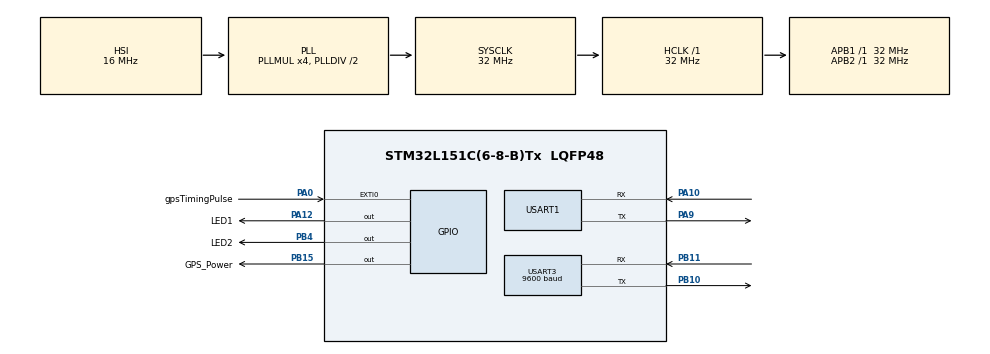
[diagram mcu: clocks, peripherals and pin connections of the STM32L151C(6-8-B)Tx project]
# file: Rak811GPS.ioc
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Mcu.Family=STM32L1
Mcu.Name=STM32L151C(6-8-B)Tx
Mcu.Package=LQFP48
NVIC.EXTI0_IRQn=true\:0\:0\:false\:false\:true\:true
NVIC.PriorityGroup=NVIC_PRIORITYGROUP_4
PA0-WKUP1.GPIO_Label=gpsTimingPulse
PA0-WKUP1.Signal=GPXTI0
PA10.Mode=Asynchronous
PA10.Signal=USART1_RX
PA12.GPIO_Label=LED1
PA12.PinState=GPIO_PIN_SET
PA12.Signal=GPIO_Output
PA13.Mode=Serial_Wire
PA13.Signal=SYS_JTMS-SWDIO
PA14.Mode=Serial_Wire
PA14.Signal=SYS_JTCK-SWCLK
PA9.Mode=Asynchronous
PA9.Signal=USART1_TX
PB10.Mode=Asynchronous
PB10.Signal=USART3_TX
PB11.Mode=Asynchronous
PB11.Signal=USART3_RX
PB15.GPIO_Label=GPS_Power
PB15.Signal=GPIO_Output
PB4.GPIO_Label=LED2
PB4.PinState=GPIO_PIN_SET
PB4.Signal=GPIO_Output
PC14-OSC32_IN.Mode=LSE-External-Oscillator
PC14-OSC32_IN.Signal=RCC_OSC32_IN
PC15-OSC32_OUT.Mode=LSE-External-Oscillator
PC15-OSC32_OUT.Signal=RCC_OSC32_OUT
ProjectManager.HeapSize=0x200
ProjectManager.StackSize=0x400
ProjectManager.TargetToolchain=SW4STM32
RCC.48MHZClocksFreq_Value=32000000
RCC.AHBFreq_Value=32000000
RCC.APB1Freq_Value=32000000
RCC.APB1TimFreq_Value=32000000
RCC.APB2Freq_Value=32000000
RCC.APB2TimFreq_Value=32000000
RCC.HCLKFreq_Value=32000000
RCC.HSE_VALUE=24000000
RCC.HSI_VALUE=16000000
RCC.MSI_VALUE=2097000
RCC.PLLMUL=RCC_PLL_MUL4
RCC.SYSCLKFreq_VALUE=32000000
RCC.SYSCLKSource=RCC_SYSCLKSOURCE_PLLCLK
RCC.VCOOutputFreq_Value=64000000
USART1.VirtualMode=VM_ASYNC
USART3.BaudRate=9600
USART3.VirtualMode=VM_ASYNC
board=custom

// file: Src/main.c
/**
  ******************************************************************************
  * @file           : main.c
  * @brief          : Main program body
  ******************************************************************************
  ** This notice applies to any and all portions of this file
  * that are not between comment pairs USER CODE BEGIN and
  * USER CODE END. Other portions of this file, whether
  * inserted by the user or by software development tools
  * are owned by their respective copyright owners.
  *
  * COPYRIGHT(c) 2018 STMicroelectronics
  *
  * Redistribution and use in source and binary forms, with or without modification,
  * are permitted provided that the following conditions are met:
  *   1. Redistributions of source code must retain the above copyright notice,
  *      this list of conditions and the following disclaimer.
  *   2. Redistributions in binary form must reproduce the above copyright notice,
  *      this list of conditions and the following disclaimer in the documentation
  *      and/or other materials provided with the distribution.
  *   3. Neither the name of STMicroelectronics nor the names of its contributors
  *      may be used to endorse or promote products derived from this software
  *      without specific prior written permission.
  *
  * THIS SOFTWARE IS PROVIDED BY THE COPYRIGHT HOLDERS AND CONTRIBUTORS "AS IS"
  * AND ANY EXPRESS OR IMPLIED WARRANTIES, INCLUDING, BUT NOT LIMITED TO, THE
  * IMPLIED WARRANTIES OF MERCHANTABILITY AND FITNESS FOR A PARTICULAR PURPOSE ARE
  * DISCLAIMED. IN NO EVENT SHALL THE COPYRIGHT HOLDER OR CONTRIBUTORS BE LIABLE
  * FOR ANY DIRECT, INDIRECT, INCIDENTAL, SPECIAL, EXEMPLARY, OR CONSEQUENTIAL
  * DAMAGES (INCLUDING, BUT NOT LIMITED TO, PROCUREMENT OF SUBSTITUTE GOODS OR
  * SERVICES; LOSS OF USE, DATA, OR PROFITS; OR BUSINESS INTERRUPTION) HOWEVER
  * CAUSED AND ON ANY THEORY OF LIABILITY, WHETHER IN CONTRACT, STRICT LIABILITY,
  * OR TORT (INCLUDING NEGLIGENCE OR OTHERWISE) ARISING IN ANY WAY OUT OF THE USE
  * OF THIS SOFTWARE, EVEN IF ADVISED OF THE POSSIBILITY OF SUCH DAMAGE.
  *
  ******************************************************************************
  */
#include "main.h"
#include "stm32l1xx_hal.h"

/* USER CODE BEGIN Includes */
#include "nmeaParser.h"
#include <stdlib.h>
#include <errno.h>

#define MAX_NO_OF_CHARS 600
/* USER CODE END Includes */

UART_HandleTypeDef huart1;
UART_HandleTypeDef huart3;

/* USER CODE BEGIN PV */
/* Private variables ---------------------------------------------------------*/

/* USER CODE END PV */

void SystemClock_Config(void);
static void MX_GPIO_Init(void);
static void MX_USART3_UART_Init(void);
static void MX_USART1_UART_Init(void);

/* USER CODE BEGIN PFP */
/* Private function prototypes -----------------------------------------------*/

/* USER CODE END PFP */

int main(void)
{
  /* USER CODE BEGIN 1 */
	HAL_StatusTypeDef maxq7RetCode;
	uint8_t *maxq7Message;
//	uint8_t maxq7Message[MAX_NO_OF_CHARS];
	uint8_t *maxq7MessagePtr;
	uint8_t c;
	int charCnt,i;
	register int sp asm ("sp");
  /* USER CODE END 1 */

  /* MCU Configuration----------------------------------------------------------*/

  /* Reset of all peripherals, Initializes the Flash interface and the Systick. */
  HAL_Init();

  /* Configure the system clock */
  SystemClock_Config();

  /* Initialize all configured peripherals */
  MX_GPIO_Init();
  MX_USART3_UART_Init();
  MX_USART1_UART_Init();
  /* USER CODE BEGIN 2 */
  printf("Rak811 GPS demo program\r\n");
  printf("The ublox max 7q GPS receiver is connected to Rak811 UART 3\r\n");
  printf("The GPS timing pulse is connected to Rak811 GPIO PA0\r\n");
  printf("Switching GPS power on\r\n");
  printf("Stack pointer is at %x\r\n",sp);
  HAL_GPIO_WritePin(GPS_Power_GPIO_Port, GPS_Power_Pin, GPIO_PIN_SET);

  maxq7Message = malloc(MAX_NO_OF_CHARS);
  if (maxq7Message == NULL) {
	  printf("Cannot allocate the nmea message buffer\r\n");
	  perror("Error after malloc: ");
	  while (1)
		  HAL_Delay(10000);
  }
  else
	  printf("buffer allocated at 0x%lx\r\n",(long)maxq7Message);

  printf("address of maxq7Message: 0x%lx\r\n",(long)maxq7Message);
  /* USER CODE END 2 */

  /* Infinite loop */
  /* USER CODE BEGIN WHILE */
  while (1)
  {
	  charCnt = 0;
	  maxq7MessagePtr = maxq7Message;

	  while ((maxq7RetCode = HAL_UART_Receive(&huart3, &c, 1, 5)) == HAL_OK) {
//		  printf("%c",c);
		  *maxq7MessagePtr++=c;
		  charCnt++;
		  if (charCnt > MAX_NO_OF_CHARS-1) {
			  printf("NMEA buffer overflow! %d chars read!\r\n",MAX_NO_OF_CHARS);
			  break;
		  }
	  }
	  if (charCnt != 0) {
		  printf("\r\nNo of chars read: %d\r\n",charCnt);
		  maxq7MessagePtr = maxq7Message;
		  for (i=0; i<charCnt;i++)
			  printf("%c",*maxq7MessagePtr++);
		  printf("\r\n");
		  nmeaParse(maxq7Message,charCnt);
		  charCnt = 0;
	  }

  /* USER CODE END WHILE */

  }

}

void SystemClock_Config(void)
{

  RCC_OscInitTypeDef RCC_OscInitStruct;
  RCC_ClkInitTypeDef RCC_ClkInitStruct;

    /**Configure the main internal regulator output voltage
    */
  __HAL_PWR_VOLTAGESCALING_CONFIG(PWR_REGULATOR_VOLTAGE_SCALE1);

    /**Initializes the CPU, AHB and APB busses clocks
    */
  RCC_OscInitStruct.OscillatorType = RCC_OSCILLATORTYPE_HSI;
  RCC_OscInitStruct.HSIState = RCC_HSI_ON;
  RCC_OscInitStruct.HSICalibrationValue = 16;
  RCC_OscInitStruct.PLL.PLLState = RCC_PLL_ON;
  RCC_OscInitStruct.PLL.PLLSource = RCC_PLLSOURCE_HSI;
  RCC_OscInitStruct.PLL.PLLMUL = RCC_PLL_MUL4;
  RCC_OscInitStruct.PLL.PLLDIV = RCC_PLL_DIV2;
  if (HAL_RCC_OscConfig(&RCC_OscInitStruct) != HAL_OK)
  {
    _Error_Handler(__FILE__, __LINE__);
  }

    /**Initializes the CPU, AHB and APB busses clocks
    */
  RCC_ClkInitStruct.ClockType = RCC_CLOCKTYPE_HCLK|RCC_CLOCKTYPE_SYSCLK
                              |RCC_CLOCKTYPE_PCLK1|RCC_CLOCKTYPE_PCLK2;
  RCC_ClkInitStruct.SYSCLKSource = RCC_SYSCLKSOURCE_PLLCLK;
  RCC_ClkInitStruct.AHBCLKDivider = RCC_SYSCLK_DIV1;
  RCC_ClkInitStruct.APB1CLKDivider = RCC_HCLK_DIV1;
  RCC_ClkInitStruct.APB2CLKDivider = RCC_HCLK_DIV1;

  if (HAL_RCC_ClockConfig(&RCC_ClkInitStruct, FLASH_LATENCY_1) != HAL_OK)
  {
    _Error_Handler(__FILE__, __LINE__);
  }

    /**Configure the Systick interrupt time
    */
  HAL_SYSTICK_Config(HAL_RCC_GetHCLKFreq()/1000);

    /**Configure the Systick
    */
  HAL_SYSTICK_CLKSourceConfig(SYSTICK_CLKSOURCE_HCLK);

  /* SysTick_IRQn interrupt configuration */
  HAL_NVIC_SetPriority(SysTick_IRQn, 0, 0);
}

/* USART1 init function */
static void MX_USART1_UART_Init(void)
{

  huart1.Instance = USART1;
  huart1.Init.BaudRate = 115200;
  huart1.Init.WordLength = UART_WORDLENGTH_8B;
  huart1.Init.StopBits = UART_STOPBITS_1;
  huart1.Init.Parity = UART_PARITY_NONE;
  huart1.Init.Mode = UART_MODE_TX_RX;
  huart1.Init.HwFlowCtl = UART_HWCONTROL_NONE;
  huart1.Init.OverSampling = UART_OVERSAMPLING_16;
  if (HAL_UART_Init(&huart1) != HAL_OK)
  {
    _Error_Handler(__FILE__, __LINE__);
  }

}

/* USART3 init function */
static void MX_USART3_UART_Init(void)
{

  huart3.Instance = USART3;
  huart3.Init.BaudRate = 9600;
  huart3.Init.WordLength = UART_WORDLENGTH_8B;
  huart3.Init.StopBits = UART_STOPBITS_1;
  huart3.Init.Parity = UART_PARITY_NONE;
  huart3.Init.Mode = UART_MODE_TX_RX;
  huart3.Init.HwFlowCtl = UART_HWCONTROL_NONE;
  huart3.Init.OverSampling = UART_OVERSAMPLING_16;
  if (HAL_UART_Init(&huart3) != HAL_OK)
  {
    _Error_Handler(__FILE__, __LINE__);
  }

}

/** Configure pins as
        * Analog
        * Input
        * Output
        * EVENT_OUT
        * EXTI
*/
static void MX_GPIO_Init(void)
{

  GPIO_InitTypeDef GPIO_InitStruct;

  /* GPIO Ports Clock Enable */
  __HAL_RCC_GPIOC_CLK_ENABLE();
  __HAL_RCC_GPIOA_CLK_ENABLE();
  __HAL_RCC_GPIOB_CLK_ENABLE();

  /*Configure GPIO pin Output Level */
  HAL_GPIO_WritePin(GPS_Power_GPIO_Port, GPS_Power_Pin, GPIO_PIN_RESET);

  /*Configure GPIO pin Output Level */
  HAL_GPIO_WritePin(LED1_GPIO_Port, LED1_Pin, GPIO_PIN_SET);

  /*Configure GPIO pin Output Level */
  HAL_GPIO_WritePin(LED2_GPIO_Port, LED2_Pin, GPIO_PIN_SET);

  /*Configure GPIO pin : gpsTimingPulse_Pin */
  GPIO_InitStruct.Pin = gpsTimingPulse_Pin;
  GPIO_InitStruct.Mode = GPIO_MODE_IT_RISING;
  GPIO_InitStruct.Pull = GPIO_NOPULL;
  HAL_GPIO_Init(gpsTimingPulse_GPIO_Port, &GPIO_InitStruct);

  /*Configure GPIO pins : GPS_Power_Pin LED2_Pin */
  GPIO_InitStruct.Pin = GPS_Power_Pin|LED2_Pin;
  GPIO_InitStruct.Mode = GPIO_MODE_OUTPUT_PP;
  GPIO_InitStruct.Pull = GPIO_NOPULL;
  GPIO_InitStruct.Speed = GPIO_SPEED_FREQ_LOW;
  HAL_GPIO_Init(GPIOB, &GPIO_InitStruct);

  /*Configure GPIO pin : LED1_Pin */
  GPIO_InitStruct.Pin = LED1_Pin;
  GPIO_InitStruct.Mode = GPIO_MODE_OUTPUT_PP;
  GPIO_InitStruct.Pull = GPIO_NOPULL;
  GPIO_InitStruct.Speed = GPIO_SPEED_FREQ_LOW;
  HAL_GPIO_Init(LED1_GPIO_Port, &GPIO_InitStruct);

  /* EXTI interrupt init*/
  HAL_NVIC_SetPriority(EXTI0_IRQn, 0, 0);
  HAL_NVIC_EnableIRQ(EXTI0_IRQn);

}

void _Error_Handler(char *file, int line)
{
  while(1)
  {
  }
}

/************************ (C) COPYRIGHT STMicroelectronics *****END OF FILE****/
